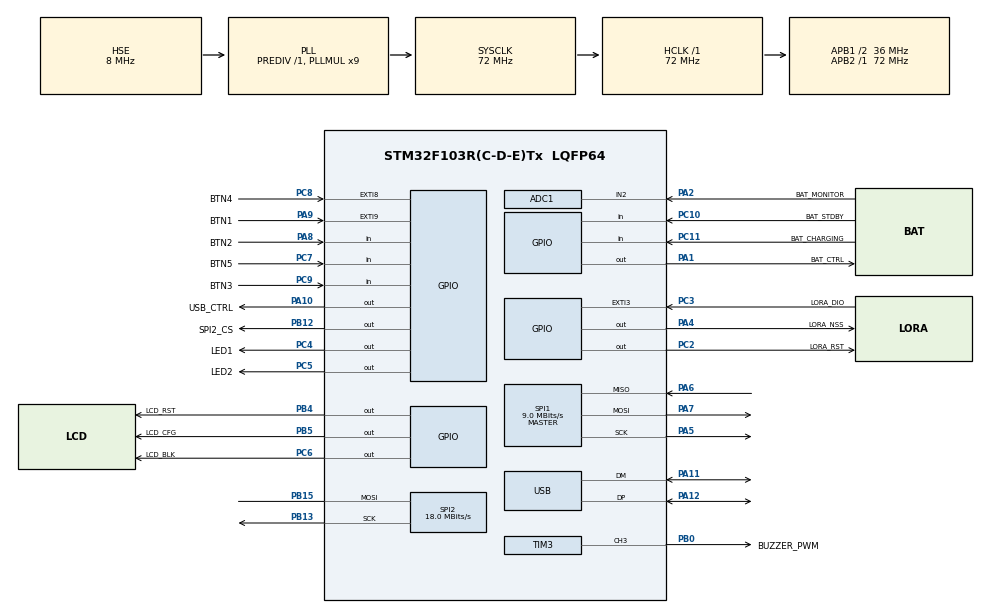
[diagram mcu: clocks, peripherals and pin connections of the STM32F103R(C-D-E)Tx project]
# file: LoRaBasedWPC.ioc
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ADC1.Channel-0\#ChannelRegularConversion=ADC_CHANNEL_2
ADC1.ContinuousConvMode=DISABLE
ADC1.EnableAnalogWatchDog=true
ADC1.ExternalTrigConv=ADC_EXTERNALTRIGCONV_T8_TRGO
ADC1.NbrOfConversionFlag=1
ADC1.Rank-0\#ChannelRegularConversion=1
ADC1.SamplingTime-0\#ChannelRegularConversion=ADC_SAMPLETIME_239CYCLES_5
ADC1.WatchdogChannel=ADC_CHANNEL_2
ADC1.master=1
Dma.ADC1.0.Direction=DMA_PERIPH_TO_MEMORY
Dma.ADC1.0.Instance=DMA1_Channel1
Dma.ADC1.0.MemDataAlignment=DMA_MDATAALIGN_HALFWORD
Dma.ADC1.0.MemInc=DMA_MINC_ENABLE
Dma.ADC1.0.Mode=DMA_CIRCULAR
Dma.ADC1.0.PeriphDataAlignment=DMA_PDATAALIGN_HALFWORD
Dma.ADC1.0.PeriphInc=DMA_PINC_DISABLE
Dma.ADC1.0.Priority=DMA_PRIORITY_LOW
Dma.Request0=ADC1
Dma.Request1=SPI2_TX
Dma.SPI2_TX.1.Direction=DMA_MEMORY_TO_PERIPH
Dma.SPI2_TX.1.Instance=DMA1_Channel5
Dma.SPI2_TX.1.MemDataAlignment=DMA_MDATAALIGN_BYTE
Dma.SPI2_TX.1.MemInc=DMA_MINC_ENABLE
Dma.SPI2_TX.1.Mode=DMA_NORMAL
Dma.SPI2_TX.1.PeriphDataAlignment=DMA_PDATAALIGN_BYTE
Dma.SPI2_TX.1.PeriphInc=DMA_PINC_DISABLE
Dma.SPI2_TX.1.Priority=DMA_PRIORITY_LOW
FREERTOS.Queues01=txMsgQueue,16,LoraPackage_t,0,Dynamic,NULL,NULL;buzzerQueue,16,Buzzer_Mode_e,0,Dynamic,NULL,NULL
FREERTOS.Tasks01=systemTask,24,512,StartSystemTask,Default,NULL,Dynamic,NULL,NULL;sensorTask,40,128,StartSensorTask,Default,NULL,Dynamic,NULL,NULL;lcdTask,16,512,StartLcdTask,Default,NULL,Dynamic,NULL,NULL;buzzerTask,8,128,StartBuzzerTask,Default,NULL,Dynamic,NULL,NULL;loraSendTask,17,256,StartLoraSendTask,Default,NULL,Dynamic,NULL,NULL;loraReceiveTask,17,512,StartLoraReceiveTask,Default,NULL,Dynamic,NULL,NULL
FREERTOS.Timers01=GetDevStatusTimer,GetDevStatusTimerCallback,osTimerPeriodic,Default,NULL,Dynamic,NULL
FREERTOS.configCHECK_FOR_STACK_OVERFLOW=0
FREERTOS.configTOTAL_HEAP_SIZE=15360
FREERTOS.configUSE_IDLE_HOOK=1
FREERTOS.configUSE_MALLOC_FAILED_HOOK=1
FREERTOS.configUSE_TICKLESS_IDLE=1
Mcu.Family=STM32F1
Mcu.Name=STM32F103R(C-D-E)Tx
Mcu.Package=LQFP64
NVIC.DMA1_Channel1_IRQn=true\:5\:0\:false\:false\:true\:true\:false\:true\:true
NVIC.DMA1_Channel5_IRQn=true\:5\:0\:false\:false\:true\:true\:false\:true\:true
NVIC.EXTI3_IRQn=true\:5\:0\:false\:false\:true\:true\:true\:true\:true
NVIC.EXTI9_5_IRQn=true\:5\:0\:true\:false\:true\:true\:true\:true\:true
NVIC.PriorityGroup=NVIC_PRIORITYGROUP_4
NVIC.RTC_Alarm_IRQn=true\:5\:0\:false\:false\:true\:true\:true\:true\:true
NVIC.TIM1_UP_IRQn=true\:4\:0\:false\:false\:true\:false\:false\:true\:true
NVIC.TimeBase=TIM1_UP_IRQn
NVIC.TimeBaseIP=TIM1
NVIC.USB_LP_CAN1_RX0_IRQn=true\:5\:0\:false\:false\:true\:true\:false\:true\:true
PA0-WKUP.Mode=SYS_WakeUp0
PA0-WKUP.Signal=SYS_WKUP
PA1.GPIO_Label=BAT_CTRL
PA1.Signal=GPIO_Output
PA10.GPIO_Label=USB_CTRL
PA10.Signal=GPIO_Output
PA11.Mode=Device
PA11.Signal=USB_DM
PA12.Mode=Device
PA12.Signal=USB_DP
PA13.Mode=Serial_Wire
PA13.Signal=SYS_JTMS-SWDIO
PA14.Mode=Serial_Wire
PA14.Signal=SYS_JTCK-SWCLK
PA2.GPIO_Label=BAT_MONITOR
PA2.Signal=ADCx_IN2
PA4.GPIO_Label=LORA_NSS
PA4.Signal=GPIO_Output
PA5.Mode=Full_Duplex_Master
PA5.Signal=SPI1_SCK
PA6.Mode=Full_Duplex_Master
PA6.Signal=SPI1_MISO
PA7.Mode=Full_Duplex_Master
PA7.Signal=SPI1_MOSI
PA8.GPIO_Label=BTN2
PA8.Signal=GPIO_Input
PA9.GPIO_Label=BTN1
PA9.Signal=GPXTI9
PB0.GPIO_Label=BUZZER_PWM
PB0.Signal=S_TIM3_CH3
PB12.GPIO_Label=SPI2_CS
PB12.PinState=GPIO_PIN_SET
PB12.Signal=GPIO_Output
PB13.Mode=Simplex_Bidirectional_Master
PB13.Signal=SPI2_SCK
PB14.Signal=SPI2_MISO
PB15.Mode=Simplex_Bidirectional_Master
PB15.Signal=SPI2_MOSI
PB4.GPIO_Label=LCD_RST
PB4.Signal=GPIO_Output
PB5.GPIO_Label=LCD_CFG
PB5.Signal=GPIO_Output
PC10.GPIO_Label=BAT_STDBY
PC10.GPIO_PuPd=GPIO_PULLUP
PC10.Signal=GPIO_Input
PC11.GPIO_Label=BAT_CHARGING
PC11.GPIO_PuPd=GPIO_PULLUP
PC11.Signal=GPIO_Input
PC14-OSC32_IN.Mode=LSE-External-Oscillator
PC14-OSC32_IN.Signal=RCC_OSC32_IN
PC15-OSC32_OUT.Mode=LSE-External-Oscillator
PC15-OSC32_OUT.Signal=RCC_OSC32_OUT
PC2.GPIO_Label=LORA_RST
PC2.PinState=GPIO_PIN_SET
PC2.Signal=GPIO_Output
PC3.GPIO_Label=LORA_DIO
PC3.Signal=GPXTI3
PC4.GPIO_Label=LED1
PC4.Signal=GPIO_Output
PC5.GPIO_Label=LED2
PC5.Signal=GPIO_Output
PC6.GPIO_Label=LCD_BLK
PC6.Signal=GPIO_Output
PC7.GPIO_Label=BTN5
PC7.Signal=GPIO_Input
PC8.GPIO_Label=BTN4
PC8.Signal=GPXTI8
PC9.GPIO_Label=BTN3
PC9.Signal=GPIO_Input
PD0-OSC_IN.Mode=HSE-External-Oscillator
PD0-OSC_IN.Signal=RCC_OSC_IN
PD1-OSC_OUT.Mode=HSE-External-Oscillator
PD1-OSC_OUT.Signal=RCC_OSC_OUT
ProjectManager.HeapSize=0x200
ProjectManager.StackSize=0x400
ProjectManager.TargetToolchain=MDK-ARM V5.32
RCC.ADCPresc=RCC_ADCPCLK2_DIV6
RCC.AHBFreq_Value=72000000
RCC.APB1CLKDivider=RCC_HCLK_DIV2
RCC.APB1Freq_Value=36000000
RCC.APB1TimFreq_Value=72000000
RCC.APB2Freq_Value=72000000
RCC.APB2TimFreq_Value=72000000
RCC.HCLKFreq_Value=72000000
RCC.PLLMUL=RCC_PLL_MUL9
RCC.RTCClockSelection=RCC_RTCCLKSOURCE_LSE
RCC.SYSCLKFreq_VALUE=72000000
RCC.SYSCLKSource=RCC_SYSCLKSOURCE_PLLCLK
RCC.USBFreq_Value=48000000
RCC.USBPrescaler=RCC_USBCLKSOURCE_PLL_DIV1_5
RTC.Date=1
RTC.Format=RTC_FORMAT_BIN
RTC.Month=RTC_MONTH_JANUARY
RTC.WeekDay=RTC_WEEKDAY_SATURDAY
SH.ADCx_IN2.0=ADC1_IN2,IN2
SH.S_TIM3_CH3.0=TIM3_CH3,PWM Generation3 CH3
SPI1.BaudRatePrescaler=SPI_BAUDRATEPRESCALER_8
SPI1.CalculateBaudRate=9.0 MBits/s
SPI1.Direction=SPI_DIRECTION_2LINES
SPI1.Mode=SPI_MODE_MASTER
SPI1.VirtualType=VM_MASTER
SPI2.BaudRatePrescaler=SPI_BAUDRATEPRESCALER_2
SPI2.CalculateBaudRate=18.0 MBits/s
SPI2.Direction=SPI_DIRECTION_1LINE
SPI2.Mode=SPI_MODE_MASTER
SPI2.VirtualType=VM_MASTER
TIM3.AutoReloadPreload=TIM_AUTORELOAD_PRELOAD_ENABLE
TIM3.Channel-PWM\ Generation3\ CH3=TIM_CHANNEL_3
TIM3.Period=365
TIM3.Prescaler=71
TIM3.Pulse-PWM\ Generation3\ CH3=183
TIM8.AutoReloadPreload=TIM_AUTORELOAD_PRELOAD_ENABLE
TIM8.Period=999
TIM8.Prescaler=7199
TIM8.TIM_MasterOutputTrigger=TIM_TRGO_UPDATE
TIM8.TIM_MasterSlaveMode=TIM_MASTERSLAVEMODE_ENABLE
USB_DEVICE.CLASS_NAME_FS=CDC
USB_DEVICE.VirtualMode=Cdc
USB_DEVICE.VirtualModeFS=Cdc_FS
VP_FREERTOS_VS_CMSIS_V2.Mode=CMSIS_V2
VP_RTC_VS_RTC_Activate.Mode=RTC_Enabled
VP_RTC_VS_RTC_Calendar.Mode=RTC_Calendar
VP_SYS_VS_tim1.Mode=TIM1
VP_TIM3_VS_ClockSourceINT.Mode=Internal
VP_TIM8_VS_ClockSourceINT.Mode=Internal
VP_USB_DEVICE_VS_USB_DEVICE_CDC_FS.Mode=CDC_FS
board=custom

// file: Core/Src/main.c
/* USER CODE BEGIN Header */
/**
  ******************************************************************************
  * @file           : main.c
  * @brief          : Main program body
  ******************************************************************************
  * @attention
  *
  * Copyright (c) 2026 STMicroelectronics.
  * All rights reserved.
  *
  * This software is licensed under terms that can be found in the LICENSE file
  * in the root directory of this software component.
  * If no LICENSE file comes with this software, it is provided AS-IS.
  *
  ******************************************************************************
  */
/* USER CODE END Header */
#include "main.h"
#include "cmsis_os.h"
#include "usb_device.h"

/* USER CODE BEGIN Includes */
#include "usbd_cdc_if.h"
#include <stdio.h>
#include <stdlib.h>
#include <string.h>
#include "button.h"
#include "lora.h"
#include "communication_lora.h"
#include "utility.h"
#include "config_store.h"
#include "lcd.h"
#include "screens.h"
#include "link_monitor.h"
#include "power_sleep.h"
#include "command_handlers.h"
#include "schedule.h"
#include "remote_history.h"
#include "rtc_setting.h"
/* USER CODE END Includes */

/* USER CODE BEGIN PD */
#define PAIRING_TIMEOUT_MS 5000 ///< Wait for the reply to a search or connection request.
/* USER CODE END PD */

ADC_HandleTypeDef hadc1;
DMA_HandleTypeDef hdma_adc1;

RTC_HandleTypeDef hrtc;

SPI_HandleTypeDef hspi1;
SPI_HandleTypeDef hspi2;
DMA_HandleTypeDef hdma_spi2_tx;

TIM_HandleTypeDef htim3;
TIM_HandleTypeDef htim8;

/* Definitions for systemTask */
osThreadId_t systemTaskHandle;
const osThreadAttr_t systemTask_attributes = {
  .name = "systemTask",
  .stack_size = 512 * 4,
  .priority = (osPriority_t) osPriorityNormal,
};
/* Definitions for sensorTask */
osThreadId_t sensorTaskHandle;
const osThreadAttr_t sensorTask_attributes = {
  .name = "sensorTask",
  .stack_size = 128 * 4,
  .priority = (osPriority_t) osPriorityHigh,
};
/* Definitions for lcdTask */
osThreadId_t lcdTaskHandle;
const osThreadAttr_t lcdTask_attributes = {
  .name = "lcdTask",
  .stack_size = 512 * 4,
  .priority = (osPriority_t) osPriorityBelowNormal,
};
/* Definitions for buzzerTask */
osThreadId_t buzzerTaskHandle;
const osThreadAttr_t buzzerTask_attributes = {
  .name = "buzzerTask",
  .stack_size = 128 * 4,
  .priority = (osPriority_t) osPriorityLow,
};
/* Definitions for loraSendTask */
osThreadId_t loraSendTaskHandle;
const osThreadAttr_t loraSendTask_attributes = {
  .name = "loraSendTask",
  .stack_size = 256 * 4,
  .priority = (osPriority_t) osPriorityBelowNormal1,
};
/* Definitions for loraReceiveTask */
osThreadId_t loraReceiveTaskHandle;
const osThreadAttr_t loraReceiveTask_attributes = {
  .name = "loraReceiveTask",
  .stack_size = 512 * 4,
  .priority = (osPriority_t) osPriorityBelowNormal1,
};
/* Definitions for txMsgQueue */
osMessageQueueId_t txMsgQueueHandle;
const osMessageQueueAttr_t txMsgQueue_attributes = {
  .name = "txMsgQueue"
};
/* Definitions for buzzerQueue */
osMessageQueueId_t buzzerQueueHandle;
const osMessageQueueAttr_t buzzerQueue_attributes = {
  .name = "buzzerQueue"
};
/* Definitions for GetDevStatusTimer */
osTimerId_t GetDevStatusTimerHandle;
const osTimerAttr_t GetDevStatusTimer_attributes = {
  .name = "GetDevStatusTimer"
};
/* USER CODE BEGIN PV */
static osMutexId_t uiMutex;
static osMutexId_t radioMutex;
static volatile uint32_t batterySampleSequence;
/* Buttons, polled by sensorTask and consumed by systemTask. */
Button_t leftButton = {BTN1_GPIO_Port, BTN1_Pin, eButton_State_Idle, 0, 0, 0};   ///< LEFT (PA9), wakes from STOP.
Button_t centerButton = {BTN3_GPIO_Port, BTN3_Pin, eButton_State_Idle, 0, 0, 0}; ///< CENTER (PC9).
Button_t rightButton = {BTN4_GPIO_Port, BTN4_Pin, eButton_State_Idle, 0, 0, 0};  ///< RIGHT (PC8), wakes from STOP.
Button_t onButton = {BTN2_GPIO_Port, BTN2_Pin, eButton_State_Idle, 0, 0, 0};     ///< ON (PA8).
Button_t offButton = {BTN5_GPIO_Port, BTN5_Pin, eButton_State_Idle, 0, 0, 0};    ///< OFF (PC7), wakes from STOP.
SystemInfo_t systemInfo;                  ///< Runtime state of the remote.
DeviceInfo_t devicesInfo[MAXIMUM_DEVICE]; ///< Paired devices, indexed by device id.
MotorData_t motorsData[MAXIMUM_MOTOR];    ///< Motor runtime state, indexed like storageData.motors.
LoRa sLoRaCtrl;                           ///< LoRa radio driver state.
uint16_t errorCode = 0;                   ///< Result of LoRa_init() at start-up.
uint8_t rxBuffer[256];                    ///< Receive buffer of loraReceiveTask.

extern Screen_t deviceControlScreen;
Screen_t *currentScreen = &deviceControlScreen;
/* USER CODE END PV */

void SystemClock_Config(void);
static void MX_GPIO_Init(void);
static void MX_DMA_Init(void);
static void MX_ADC1_Init(void);
static void MX_SPI1_Init(void);
static void MX_SPI2_Init(void);
static void MX_TIM3_Init(void);
static void MX_RTC_Init(void);
static void MX_TIM8_Init(void);
void StartSystemTask(void *argument);
void StartSensorTask(void *argument);
void StartLcdTask(void *argument);
void StartBuzzerTask(void *argument);
void StartLoraSendTask(void *argument);
void StartLoraReceiveTask(void *argument);
void GetDevStatusTimerCallback(void *argument);

/* USER CODE BEGIN PFP */
static void updateBattery(void);
static uint8_t findFreeNodeId(void);
static char deviceTypeChar(uint8_t deviceType);
static int8_t findPairedSlot(uint32_t serial);
static int8_t pairingSlot(void);
static int8_t storePairedDevice(void);
static void handleButton(Button_t *button, void (*onClick)(void), void (*onLongPress)(void));
static uint8_t pairingScreenAt(uint8_t step);
static void showPairingStep(uint8_t step);
static uint8_t pairingTimedOut(uint32_t startTick);
static void handlePairingSearch(void);
static void handlePairingConnection(void);
/* USER CODE END PFP */

int main(void)
{

  /* USER CODE BEGIN 1 */
  SCB->VTOR = 0x08008000u;
  __DSB();
  __ISB();

  /* USER CODE END 1 */

  /* MCU Configuration--------------------------------------------------------*/

  /* Reset of all peripherals, Initializes the Flash interface and the Systick. */
  HAL_Init();

  /* Configure the system clock */
  SystemClock_Config();

  /* Initialize all configured peripherals */
  MX_GPIO_Init();
  MX_DMA_Init();
  MX_ADC1_Init();
  MX_SPI1_Init();
  MX_SPI2_Init();
  MX_TIM3_Init();
  MX_RTC_Init();
  MX_TIM8_Init();
  /* USER CODE BEGIN 2 */
  LCD_Backlight_On();
  LCD_init();

  /* Start battery voltage's ADC. */
  HAL_GPIO_WritePin(BAT_CTRL_GPIO_Port, BAT_CTRL_Pin, GPIO_PIN_SET);
  HAL_Delay(5);
  if (HAL_ADCEx_Calibration_Start(&hadc1) != HAL_OK)
  {
    Error_Handler();
  }
  /* Sample the high-impedance divider with a long acquisition time. */
  ADC_ChannelConfTypeDef batteryChannel = {0};
  batteryChannel.Channel = ADC_CHANNEL_2;
  batteryChannel.Rank = ADC_REGULAR_RANK_1;
  batteryChannel.SamplingTime = ADC_SAMPLETIME_239CYCLES_5;
  if (HAL_ADC_ConfigChannel(&hadc1, &batteryChannel) != HAL_OK)
  {
    Error_Handler();
  }
  __HAL_TIM_SET_AUTORELOAD(&htim8, 999);
  __HAL_TIM_SET_COUNTER(&htim8, 0);
  HAL_ADC_Start_DMA(&hadc1, &systemInfo.batteryAdc, 1);
  HAL_TIM_Base_Start(&htim8);

  /* Load the stored configuration (newest valid slot, old format or defaults). */
  Config_Load();

  /* LoRa module settings. */
  sLoRaCtrl = newLoRa();

  sLoRaCtrl.hSPIx = &hspi1;
  sLoRaCtrl.CS_port = LORA_NSS_GPIO_Port;
  sLoRaCtrl.CS_pin = LORA_NSS_Pin;
  sLoRaCtrl.reset_port = LORA_RST_GPIO_Port;
  sLoRaCtrl.reset_pin = LORA_RST_Pin;
  sLoRaCtrl.DIO0_port = LORA_DIO_GPIO_Port;
  sLoRaCtrl.DIO0_pin = LORA_DIO_Pin;

  sLoRaCtrl.frequency = storageData.freqMhz;
  sLoRaCtrl.spredingFactor = storageData.spreadFactor;
  sLoRaCtrl.bandWidth = BW_125KHz;          /* default = BW_125KHz */
  sLoRaCtrl.crcRate = CR_4_5;               /* default = CR_4_5 */
  sLoRaCtrl.power = POWER_17db;             /* default = 20db */
  sLoRaCtrl.overCurrentProtection = 120;    /* default = 100 mA */
  sLoRaCtrl.preamble = 10;

  LoRa_reset(&sLoRaCtrl);
  errorCode = LoRa_init(&sLoRaCtrl);
  LoRa_startReceiving(&sLoRaCtrl);

  /* System settings. */
  systemInfo.batteryVoltageMin = 3.0f;
  systemInfo.batteryVoltageMax = 4.2f;
  systemInfo.netId = storageData.netId;
  systemInfo.runMode = eSystem_RunMode_Normal;

  /* Device list: runtime state in devicesInfo; Config_Load() has already checked the settings. */
  for (int devNo = 0; devNo < MAXIMUM_DEVICE; devNo++)
  {
    storageData.devices[devNo].factoryInfo.typeChar =
      deviceTypeChar(storageData.devices[devNo].factoryInfo.type);
    devicesInfo[devNo].index = devNo;
  }

  /* Select the first paired device. */
  HAL_RTC_GetTime(&hrtc, &systemInfo.rtcTime, RTC_FORMAT_BIN);
  HAL_RTC_GetDate(&hrtc, &systemInfo.rtcDate, RTC_FORMAT_BIN);
  systemInfo.currentTime = Util_GetUnixTimestamp(&systemInfo.rtcTime, &systemInfo.rtcDate);
  for (int devNo = 0; devNo < MAXIMUM_DEVICE; devNo++)
  {
    if (storageData.devices[devNo].deleted == FALSE)
    {
      devicesInfo[devNo].lastRxTime = systemInfo.currentTime;
      systemInfo.curDevice = devNo;
      systemInfo.curModule = 0;
      break;
    }
  }

  RemoteHistory_Init();
  currentScreen->init();
  Link_Init(Power_ReadRtcSecond());
  Link_RequestStatusSync();
  Power_Init();
  /* USER CODE END 2 */

  /* Init scheduler */
  osKernelInitialize();

  /* USER CODE BEGIN RTOS_MUTEX */
  const osMutexAttr_t uiMutexAttributes = { .name = "UI", .attr_bits = osMutexPrioInherit };
  const osMutexAttr_t radioMutexAttributes = { .name = "LoRa", .attr_bits = osMutexPrioInherit };

  uiMutex = osMutexNew(&uiMutexAttributes);
  if (!uiMutex)
  {
    Error_Handler();
  }
  radioMutex = osMutexNew(&radioMutexAttributes);
  if (!radioMutex)
  {
    Error_Handler();
  }
  /* USER CODE END RTOS_MUTEX */

  /* Create the timer(s) */
  /* creation of GetDevStatusTimer */
  GetDevStatusTimerHandle = osTimerNew(GetDevStatusTimerCallback, osTimerPeriodic, NULL, &GetDevStatusTimer_attributes);

  /* Create the queue(s) */
  /* creation of txMsgQueue */
  txMsgQueueHandle = osMessageQueueNew (16, sizeof(LoraPackage_t), &txMsgQueue_attributes);

  /* creation of buzzerQueue */
  buzzerQueueHandle = osMessageQueueNew (16, sizeof(Buzzer_Mode_e), &buzzerQueue_attributes);

  /* Create the thread(s) */
  /* creation of systemTask */
  systemTaskHandle = osThreadNew(StartSystemTask, NULL, &systemTask_attributes);

  /* creation of sensorTask */
  sensorTaskHandle = osThreadNew(StartSensorTask, NULL, &sensorTask_attributes);

  /* creation of lcdTask */
  lcdTaskHandle = osThreadNew(StartLcdTask, NULL, &lcdTask_attributes);

  /* creation of buzzerTask */
  buzzerTaskHandle = osThreadNew(StartBuzzerTask, NULL, &buzzerTask_attributes);

  /* creation of loraSendTask */
  loraSendTaskHandle = osThreadNew(StartLoraSendTask, NULL, &loraSendTask_attributes);

  /* creation of loraReceiveTask */
  loraReceiveTaskHandle = osThreadNew(StartLoraReceiveTask, NULL, &loraReceiveTask_attributes);

  /* Start scheduler */
  osKernelStart();

  /* We should never get here as control is now taken by the scheduler */

  /* Infinite loop */
  while (1)
  {

  }
}

void SystemClock_Config(void)
{
  RCC_OscInitTypeDef RCC_OscInitStruct = {0};
  RCC_ClkInitTypeDef RCC_ClkInitStruct = {0};
  RCC_PeriphCLKInitTypeDef PeriphClkInit = {0};

  /** Initializes the RCC Oscillators according to the specified parameters
  * in the RCC_OscInitTypeDef structure.
  */
  RCC_OscInitStruct.OscillatorType = RCC_OSCILLATORTYPE_HSE|RCC_OSCILLATORTYPE_LSE;
  RCC_OscInitStruct.HSEState = RCC_HSE_ON;
  RCC_OscInitStruct.HSEPredivValue = RCC_HSE_PREDIV_DIV1;
  RCC_OscInitStruct.LSEState = RCC_LSE_ON;
  RCC_OscInitStruct.HSIState = RCC_HSI_ON;
  RCC_OscInitStruct.PLL.PLLState = RCC_PLL_ON;
  RCC_OscInitStruct.PLL.PLLSource = RCC_PLLSOURCE_HSE;
  RCC_OscInitStruct.PLL.PLLMUL = RCC_PLL_MUL9;
  if (HAL_RCC_OscConfig(&RCC_OscInitStruct) != HAL_OK)
  {
    Error_Handler();
  }

  /** Initializes the CPU, AHB and APB buses clocks
  */
  RCC_ClkInitStruct.ClockType = RCC_CLOCKTYPE_HCLK|RCC_CLOCKTYPE_SYSCLK
                              |RCC_CLOCKTYPE_PCLK1|RCC_CLOCKTYPE_PCLK2;
  RCC_ClkInitStruct.SYSCLKSource = RCC_SYSCLKSOURCE_PLLCLK;
  RCC_ClkInitStruct.AHBCLKDivider = RCC_SYSCLK_DIV1;
  RCC_ClkInitStruct.APB1CLKDivider = RCC_HCLK_DIV2;
  RCC_ClkInitStruct.APB2CLKDivider = RCC_HCLK_DIV1;

  if (HAL_RCC_ClockConfig(&RCC_ClkInitStruct, FLASH_LATENCY_2) != HAL_OK)
  {
    Error_Handler();
  }
  PeriphClkInit.PeriphClockSelection = RCC_PERIPHCLK_RTC|RCC_PERIPHCLK_ADC
                              |RCC_PERIPHCLK_USB;
  PeriphClkInit.RTCClockSelection = RCC_RTCCLKSOURCE_LSE;
  PeriphClkInit.AdcClockSelection = RCC_ADCPCLK2_DIV6;
  PeriphClkInit.UsbClockSelection = RCC_USBCLKSOURCE_PLL_DIV1_5;
  if (HAL_RCCEx_PeriphCLKConfig(&PeriphClkInit) != HAL_OK)
  {
    Error_Handler();
  }
}

static void MX_ADC1_Init(void)
{

  ADC_AnalogWDGConfTypeDef AnalogWDGConfig = {0};
  ADC_ChannelConfTypeDef sConfig = {0};

  /** Common config
  */
  hadc1.Instance = ADC1;
  hadc1.Init.ScanConvMode = ADC_SCAN_DISABLE;
  hadc1.Init.ContinuousConvMode = DISABLE;
  hadc1.Init.DiscontinuousConvMode = DISABLE;
  hadc1.Init.ExternalTrigConv = ADC_EXTERNALTRIGCONV_T8_TRGO;
  hadc1.Init.DataAlign = ADC_DATAALIGN_RIGHT;
  hadc1.Init.NbrOfConversion = 1;
  if (HAL_ADC_Init(&hadc1) != HAL_OK)
  {
    Error_Handler();
  }

  /** Enable or disable the remapping of ADC1_ETRGREG:
  * ADC1 External Event regular conversion is connected to TIM8 TRG0
  */
  __HAL_AFIO_REMAP_ADC1_ETRGREG_ENABLE();

  /** Configure Analog WatchDog 1
  */
  AnalogWDGConfig.WatchdogMode = ADC_ANALOGWATCHDOG_SINGLE_REG;
  AnalogWDGConfig.HighThreshold = 0;
  AnalogWDGConfig.LowThreshold = 0;
  AnalogWDGConfig.Channel = ADC_CHANNEL_2;
  AnalogWDGConfig.ITMode = DISABLE;
  if (HAL_ADC_AnalogWDGConfig(&hadc1, &AnalogWDGConfig) != HAL_OK)
  {
    Error_Handler();
  }

  /** Configure Regular Channel
  */
  sConfig.Channel = ADC_CHANNEL_2;
  sConfig.Rank = ADC_REGULAR_RANK_1;
  sConfig.SamplingTime = ADC_SAMPLETIME_7CYCLES_5;
  if (HAL_ADC_ConfigChannel(&hadc1, &sConfig) != HAL_OK)
  {
    Error_Handler();
  }

}

static void MX_RTC_Init(void)
{

  RTC_TimeTypeDef sTime = {0};
  RTC_DateTypeDef DateToUpdate = {0};

  /** Initialize RTC Only
  */
  hrtc.Instance = RTC;
  hrtc.Init.AsynchPrediv = RTC_AUTO_1_SECOND;
  hrtc.Init.OutPut = RTC_OUTPUTSOURCE_ALARM;
  if (HAL_RTC_Init(&hrtc) != HAL_OK)
  {
    Error_Handler();
  }

  /* USER CODE BEGIN Check_RTC_BKUP */
  /* Only set the default time/date when the RTC was not configured before. */
  if (HAL_RTCEx_BKUPRead(&hrtc, RTC_BKP_DR1) != 0x3210)
  {
  /* USER CODE END Check_RTC_BKUP */

  /** Initialize RTC and set the Time and Date
  */
  sTime.Hours = 0;
  sTime.Minutes = 0;
  sTime.Seconds = 0;

  if (HAL_RTC_SetTime(&hrtc, &sTime, RTC_FORMAT_BIN) != HAL_OK)
  {
    Error_Handler();
  }
  DateToUpdate.WeekDay = RTC_WEEKDAY_SATURDAY;
  DateToUpdate.Month = RTC_MONTH_JANUARY;
  DateToUpdate.Date = 1;
  DateToUpdate.Year = 0;

  if (HAL_RTC_SetDate(&hrtc, &DateToUpdate, RTC_FORMAT_BIN) != HAL_OK)
  {
    Error_Handler();
  }
  /* USER CODE BEGIN RTC_Init 2 */
    HAL_RTCEx_BKUPWrite(&hrtc, RTC_BKP_DR1, 0x3210);
  }
  Rtc_RestoreDate();
  /* USER CODE END RTC_Init 2 */
}

static void MX_SPI1_Init(void)
{

  /* SPI1 parameter configuration*/
  hspi1.Instance = SPI1;
  hspi1.Init.Mode = SPI_MODE_MASTER;
  hspi1.Init.Direction = SPI_DIRECTION_2LINES;
  hspi1.Init.DataSize = SPI_DATASIZE_8BIT;
  hspi1.Init.CLKPolarity = SPI_POLARITY_LOW;
  hspi1.Init.CLKPhase = SPI_PHASE_1EDGE;
  hspi1.Init.NSS = SPI_NSS_SOFT;
  hspi1.Init.BaudRatePrescaler = SPI_BAUDRATEPRESCALER_8;
  hspi1.Init.FirstBit = SPI_FIRSTBIT_MSB;
  hspi1.Init.TIMode = SPI_TIMODE_DISABLE;
  hspi1.Init.CRCCalculation = SPI_CRCCALCULATION_DISABLE;
  hspi1.Init.CRCPolynomial = 10;
  if (HAL_SPI_Init(&hspi1) != HAL_OK)
  {
    Error_Handler();
  }

}

static void MX_SPI2_Init(void)
{

  /* SPI2 parameter configuration*/
  hspi2.Instance = SPI2;
  hspi2.Init.Mode = SPI_MODE_MASTER;
  hspi2.Init.Direction = SPI_DIRECTION_1LINE;
  hspi2.Init.DataSize = SPI_DATASIZE_8BIT;
  hspi2.Init.CLKPolarity = SPI_POLARITY_LOW;
  hspi2.Init.CLKPhase = SPI_PHASE_1EDGE;
  hspi2.Init.NSS = SPI_NSS_SOFT;
  hspi2.Init.BaudRatePrescaler = SPI_BAUDRATEPRESCALER_2;
  hspi2.Init.FirstBit = SPI_FIRSTBIT_MSB;
  hspi2.Init.TIMode = SPI_TIMODE_DISABLE;
  hspi2.Init.CRCCalculation = SPI_CRCCALCULATION_DISABLE;
  hspi2.Init.CRCPolynomial = 10;
  if (HAL_SPI_Init(&hspi2) != HAL_OK)
  {
    Error_Handler();
  }

}

static void MX_TIM3_Init(void)
{

  TIM_ClockConfigTypeDef sClockSourceConfig = {0};
  TIM_MasterConfigTypeDef sMasterConfig = {0};
  TIM_OC_InitTypeDef sConfigOC = {0};

  htim3.Instance = TIM3;
  htim3.Init.Prescaler = 71;
  htim3.Init.CounterMode = TIM_COUNTERMODE_UP;
  htim3.Init.Period = 365;
  htim3.Init.ClockDivision = TIM_CLOCKDIVISION_DIV1;
  htim3.Init.AutoReloadPreload = TIM_AUTORELOAD_PRELOAD_ENABLE;
  if (HAL_TIM_Base_Init(&htim3) != HAL_OK)
  {
    Error_Handler();
  }
  sClockSourceConfig.ClockSource = TIM_CLOCKSOURCE_INTERNAL;
  if (HAL_TIM_ConfigClockSource(&htim3, &sClockSourceConfig) != HAL_OK)
  {
    Error_Handler();
  }
  if (HAL_TIM_PWM_Init(&htim3) != HAL_OK)
  {
    Error_Handler();
  }
  sMasterConfig.MasterOutputTrigger = TIM_TRGO_RESET;
  sMasterConfig.MasterSlaveMode = TIM_MASTERSLAVEMODE_DISABLE;
  if (HAL_TIMEx_MasterConfigSynchronization(&htim3, &sMasterConfig) != HAL_OK)
  {
    Error_Handler();
  }
  sConfigOC.OCMode = TIM_OCMODE_PWM1;
  sConfigOC.Pulse = 183;
  sConfigOC.OCPolarity = TIM_OCPOLARITY_HIGH;
  sConfigOC.OCFastMode = TIM_OCFAST_DISABLE;
  if (HAL_TIM_PWM_ConfigChannel(&htim3, &sConfigOC, TIM_CHANNEL_3) != HAL_OK)
  {
    Error_Handler();
  }
  HAL_TIM_MspPostInit(&htim3);

}

static void MX_TIM8_Init(void)
{

  TIM_ClockConfigTypeDef sClockSourceConfig = {0};
  TIM_MasterConfigTypeDef sMasterConfig = {0};

  htim8.Instance = TIM8;
  htim8.Init.Prescaler = 7199;
  htim8.Init.CounterMode = TIM_COUNTERMODE_UP;
  htim8.Init.Period = 10000;
  htim8.Init.ClockDivision = TIM_CLOCKDIVISION_DIV1;
  htim8.Init.RepetitionCounter = 0;
  htim8.Init.AutoReloadPreload = TIM_AUTORELOAD_PRELOAD_ENABLE;
  if (HAL_TIM_Base_Init(&htim8) != HAL_OK)
  {
    Error_Handler();
  }
  sClockSourceConfig.ClockSource = TIM_CLOCKSOURCE_INTERNAL;
  if (HAL_TIM_ConfigClockSource(&htim8, &sClockSourceConfig) != HAL_OK)
  {
    Error_Handler();
  }
  sMasterConfig.MasterOutputTrigger = TIM_TRGO_UPDATE;
  sMasterConfig.MasterSlaveMode = TIM_MASTERSLAVEMODE_ENABLE;
  if (HAL_TIMEx_MasterConfigSynchronization(&htim8, &sMasterConfig) != HAL_OK)
  {
    Error_Handler();
  }

}

static void MX_DMA_Init(void)
{

  /* DMA controller clock enable */
  __HAL_RCC_DMA1_CLK_ENABLE();

  /* DMA interrupt init */
  /* DMA1_Channel1_IRQn interrupt configuration */
  HAL_NVIC_SetPriority(DMA1_Channel1_IRQn, 5, 0);
  HAL_NVIC_EnableIRQ(DMA1_Channel1_IRQn);
  /* DMA1_Channel5_IRQn interrupt configuration */
  HAL_NVIC_SetPriority(DMA1_Channel5_IRQn, 5, 0);
  HAL_NVIC_EnableIRQ(DMA1_Channel5_IRQn);

}

static void MX_GPIO_Init(void)
{
  GPIO_InitTypeDef GPIO_InitStruct = {0};

  /* GPIO Ports Clock Enable */
  __HAL_RCC_GPIOC_CLK_ENABLE();
  __HAL_RCC_GPIOD_CLK_ENABLE();
  __HAL_RCC_GPIOA_CLK_ENABLE();
  __HAL_RCC_GPIOB_CLK_ENABLE();

  /*Configure GPIO pin Output Level */
  HAL_GPIO_WritePin(LORA_RST_GPIO_Port, LORA_RST_Pin, GPIO_PIN_SET);

  /*Configure GPIO pin Output Level */
  HAL_GPIO_WritePin(GPIOA, BAT_CTRL_Pin|LORA_NSS_Pin|USB_CTRL_Pin, GPIO_PIN_RESET);

  /*Configure GPIO pin Output Level */
  HAL_GPIO_WritePin(GPIOC, LED1_Pin|LED2_Pin|LCD_BLK_Pin, GPIO_PIN_RESET);

  /*Configure GPIO pin Output Level */
  HAL_GPIO_WritePin(SPI2_CS_GPIO_Port, SPI2_CS_Pin, GPIO_PIN_SET);

  /*Configure GPIO pin Output Level */
  HAL_GPIO_WritePin(GPIOB, LCD_RST_Pin|LCD_CFG_Pin, GPIO_PIN_RESET);

  /*Configure GPIO pins : LORA_RST_Pin LED1_Pin LED2_Pin LCD_BLK_Pin */
  GPIO_InitStruct.Pin = LORA_RST_Pin|LED1_Pin|LED2_Pin|LCD_BLK_Pin;
  GPIO_InitStruct.Mode = GPIO_MODE_OUTPUT_PP;
  GPIO_InitStruct.Pull = GPIO_NOPULL;
  GPIO_InitStruct.Speed = GPIO_SPEED_FREQ_LOW;
  HAL_GPIO_Init(GPIOC, &GPIO_InitStruct);

  /*Configure GPIO pins : LORA_DIO_Pin BTN4_Pin */
  GPIO_InitStruct.Pin = LORA_DIO_Pin|BTN4_Pin;
  GPIO_InitStruct.Mode = GPIO_MODE_IT_RISING;
  GPIO_InitStruct.Pull = GPIO_NOPULL;
  HAL_GPIO_Init(GPIOC, &GPIO_InitStruct);

  /*Configure GPIO pins : BAT_CTRL_Pin LORA_NSS_Pin USB_CTRL_Pin */
  GPIO_InitStruct.Pin = BAT_CTRL_Pin|LORA_NSS_Pin|USB_CTRL_Pin;
  GPIO_InitStruct.Mode = GPIO_MODE_OUTPUT_PP;
  GPIO_InitStruct.Pull = GPIO_NOPULL;
  GPIO_InitStruct.Speed = GPIO_SPEED_FREQ_LOW;
  HAL_GPIO_Init(GPIOA, &GPIO_InitStruct);

  /*Configure GPIO pins : SPI2_CS_Pin LCD_RST_Pin LCD_CFG_Pin */
  GPIO_InitStruct.Pin = SPI2_CS_Pin|LCD_RST_Pin|LCD_CFG_Pin;
  GPIO_InitStruct.Mode = GPIO_MODE_OUTPUT_PP;
  GPIO_InitStruct.Pull = GPIO_NOPULL;
  GPIO_InitStruct.Speed = GPIO_SPEED_FREQ_LOW;
  HAL_GPIO_Init(GPIOB, &GPIO_InitStruct);

  /*Configure GPIO pins : BTN5_Pin BTN3_Pin */
  GPIO_InitStruct.Pin = BTN5_Pin|BTN3_Pin;
  GPIO_InitStruct.Mode = GPIO_MODE_INPUT;
  GPIO_InitStruct.Pull = GPIO_NOPULL;
  HAL_GPIO_Init(GPIOC, &GPIO_InitStruct);

  /*Configure GPIO pin : BTN2_Pin */
  GPIO_InitStruct.Pin = BTN2_Pin;
  GPIO_InitStruct.Mode = GPIO_MODE_INPUT;
  GPIO_InitStruct.Pull = GPIO_NOPULL;
  HAL_GPIO_Init(BTN2_GPIO_Port, &GPIO_InitStruct);

  /*Configure GPIO pin : BTN1_Pin */
  GPIO_InitStruct.Pin = BTN1_Pin;
  GPIO_InitStruct.Mode = GPIO_MODE_IT_RISING;
  GPIO_InitStruct.Pull = GPIO_NOPULL;
  HAL_GPIO_Init(BTN1_GPIO_Port, &GPIO_InitStruct);

  /*Configure GPIO pins : BAT_STDBY_Pin BAT_CHARGING_Pin */
  GPIO_InitStruct.Pin = BAT_STDBY_Pin|BAT_CHARGING_Pin;
  GPIO_InitStruct.Mode = GPIO_MODE_INPUT;
  GPIO_InitStruct.Pull = GPIO_PULLUP;
  HAL_GPIO_Init(GPIOC, &GPIO_InitStruct);

  /* EXTI interrupt init*/
  HAL_NVIC_SetPriority(EXTI3_IRQn, 5, 0);
  HAL_NVIC_EnableIRQ(EXTI3_IRQn);

  HAL_NVIC_SetPriority(EXTI9_5_IRQn, 5, 0);
  HAL_NVIC_EnableIRQ(EXTI9_5_IRQn);

}

/* USER CODE BEGIN 4 */
/**
 * @brief  Count a finished battery sample (ADC1 by DMA, triggered by TIM8).
 * @param  adc  ADC that finished.
 */
void HAL_ADC_ConvCpltCallback(ADC_HandleTypeDef *adc)
{
  if (adc->Instance == ADC1)
  {
    batterySampleSequence++;
  }
}

/**
 * @brief  EXTI wake sources: LEFT/RIGHT/OFF buttons and LoRa DIO0.
 *
 * DIO0 also notifies loraReceiveTask, except while Power_TryStop() is
 * entering STOP; it notifies the task itself after wake-up.
 *
 * @param  GPIO_Pin  Pin that triggered.
 */
void HAL_GPIO_EXTI_Callback(uint16_t GPIO_Pin)
{
  BaseType_t higherPriorityTaskWoken = pdFALSE;

  if (GPIO_Pin == BTN1_Pin || GPIO_Pin == BTN4_Pin || GPIO_Pin == BTN5_Pin)
  {
    Power_ButtonWakeISR();
  }
  else if (GPIO_Pin == sLoRaCtrl.DIO0_pin)
  {
    Power_RadioWakeISR();
    if (loraReceiveTaskHandle && !powerSleep.stopping)
    {
      vTaskNotifyGiveFromISR(loraReceiveTaskHandle, &higherPriorityTaskWoken);
    }
    portYIELD_FROM_ISR(higherPriorityTaskWoken);
  }
}

/**
 * @brief  RTC Alarm A: wake-up for the periodic sleep scan.
 * @param  hrtc  RTC handle.
 */
void HAL_RTC_AlarmAEventCallback(RTC_HandleTypeDef *hrtc)
{
  Power_RtcWakeISR();
}

/**
 * @brief  Ask buzzerTask to play a pattern.
 * @param  mode  Pattern to play.
 * @note   Does not block; the request is dropped if the queue is full.
 */
void Main_SetBuzzerMode(Buzzer_Mode_e mode)
{
  osMessageQueuePut(buzzerQueueHandle, &mode, 0, 0);
}

/**
 * @brief  Send CMD_CONTROL_POWER to the selected device and module.
 *
 * A locked motor is refused with a long beep and the lock notice; an
 * invalid, hidden or deleted device is ignored. Cancels the tracked schedule
 * of that node, since the command replaces it.
 *
 * @param  motorPower  A Motor_PowerState_e value.
 */
void Main_SetMotorPower(uint8_t motorPower)
{
  MotorStorageData_t *motor;

  /* Guard the common send path for both physical and USB-injected buttons. */
  if (systemInfo.curDevice >= MAXIMUM_DEVICE || systemInfo.curModule >= MAXIMUM_MODULE)
  {
    return;
  }
  if (!ScrnCommon_SelectionVisible())
  {
    return;
  }
  motor = Config_Motor(systemInfo.curDevice, systemInfo.curModule);
  if (motor == NULL)
  {
    return;
  }
  if (motor->locked)
  {
    ScrnDcs_ShowMotorLocked(motorPower);
    Main_SetBuzzerMode(eBuzzer_Mode_LongBeep);
    return;
  }

  if (storageData.devices[systemInfo.curDevice].deleted == FALSE)
  {
    Schedule_CancelForMotor(storageData.devices[systemInfo.curDevice].nodeId, systemInfo.curModule);
    LoraPackage_t packageOut = Comm_CreateReqControlPower(systemInfo.netId, storageData.devices[systemInfo.curDevice].nodeId,
      systemInfo.curModule, motorPower);
    osMessageQueuePut(txMsgQueueHandle, &packageOut, 0, pdMS_TO_TICKS(100));
  }
}

/** @brief Apply a new status period: stop the legacy poll timer and request a link scan. */
void Main_UpdateStatusPeriod(void)
{
  /* Compatibility entry point: scanning is local, never unconditional RF polling. */
  if (GetDevStatusTimerHandle)
  {
    osTimerStop(GetDevStatusTimerHandle);
  }
  Link_RequestScan();
}

/**
 * @brief  Send CMD_SET_SCHEDULE for the selected device and track it.
 * @param  time  Seconds from now until switch-off; negative cancels the schedule.
 */
void Main_SetScheduleTimeToCurrentModule(int32_t time)
{
  PayloadRequestSetSchedule_t payload;

  if (!ScrnCommon_SelectionVisible())
  {
    return;
  }

  payload.moduleIndex = systemInfo.curModule;
  payload.syncTime = systemInfo.currentTime;
  if (time < 0)
  {
    payload.scheduleTime = 0;
  }
  else
  {
    payload.scheduleTime = systemInfo.currentTime + time;
  }

  LoraPackage_t packageOut = Comm_CreateReqSetSchedule(systemInfo.netId, storageData.devices[systemInfo.curDevice].nodeId, payload);
  Schedule_Track(&packageOut, &payload);
  if (osMessageQueuePut(txMsgQueueHandle, &packageOut, 0, pdMS_TO_TICKS(100)) != osOK)
  {
    Schedule_QueueFailed();
  }
}

/**
 * @brief  Start pairing: switch the radio to the default settings and ask for factory info.
 *
 * Sets 433 MHz, SF7 and the default network id, then queues
 * CMD_GET_FACTORY_INFO. systemTask reports the result on the pairing screen,
 * or "not found" after 5 s.
 */
void Main_ScanNewDevice(void)
{
  osMutexAcquire(radioMutex, osWaitForever);
  systemInfo.searchTick = xTaskGetTickCount();
  systemInfo.searchStep = eProcess_Step_Processing;
  systemInfo.searchResult = eProcess_Result_Failed;
  memset(&systemInfo.foundDevice, 0, sizeof(systemInfo.foundDevice));
  systemInfo.netId = LORA_NET_ID_DEFAULT;
  sLoRaCtrl.frequency = 433;
  sLoRaCtrl.spredingFactor = SF_7;
  LoRa_init(&sLoRaCtrl);
  LoRa_startReceiving(&sLoRaCtrl);
  osMutexRelease(radioMutex);

  LoraPackage_t packageOut = Comm_CreateReqGetFactoryInfo(LORA_NET_ID_DEFAULT, LORA_NODE_ID_DEFAULT);
  osMessageQueuePut(txMsgQueueHandle, &packageOut, 0, pdMS_TO_TICKS(100));
}

/**
 * @brief  Runtime state of a motor (status, currents, timer, alarm).
 * @param  device  Index in devicesInfo.
 * @param  module  Module index on that device.
 * @return Its motorsData entry, or NULL if the motor has no storageData.motors slot.
 */
MotorData_t *Main_MotorState(uint8_t device, uint8_t module)
{
  int8_t slot = Config_MotorSlot(device, module);

  return slot < 0 ? NULL : &motorsData[slot];
}

/**
 * @brief  Leave pairing: put the radio back on the stored network and drop pending pairing steps.
 *
 * Main_ScanNewDevice() moves the radio to the default network; without this
 * every paired device stays unreachable until the next reset.
 */
void Main_RestoreRadio(void)
{
  osMutexAcquire(radioMutex, osWaitForever);
  systemInfo.searchStep = eProcess_Step_None;
  systemInfo.connectStep = eProcess_Step_None;
  systemInfo.netId = storageData.netId;
  sLoRaCtrl.frequency = storageData.freqMhz;
  sLoRaCtrl.spredingFactor = storageData.spreadFactor;
  LoRa_init(&sLoRaCtrl);
  LoRa_startReceiving(&sLoRaCtrl);
  osMutexRelease(radioMutex);
}

/**
 * @brief  Send CMD_CONFIG_CONNECTION to the device found by Main_ScanNewDevice().
 *
 * Gives it the configured network id, radio settings and the next unused
 * node id. systemTask stores the device when it answers, or fails after 5 s.
 *
 * @return FALSE, without contacting the device, if the device table or the
 *         motor pool has no room for it; the device keeps its settings then.
 */
uint8_t Main_ConnectToDevice(void)
{
  PayloadRequestConfigConnection_t payload;
  int8_t slot;

  /* Check the room first: a device that accepted the connection must be storable. */
  slot = pairingSlot();
  if (slot < 0)
  {
    return FALSE;
  }
  systemInfo.connectTick = xTaskGetTickCount();
  systemInfo.connectStep = eProcess_Step_Processing;
  systemInfo.connectResult = eProcess_Result_Failed;
  /* A device paired before keeps its slot and node id. */
  systemInfo.pairNodeId = findPairedSlot(systemInfo.foundDevice.serial) == slot ?
    storageData.devices[slot].nodeId : findFreeNodeId();

  payload.serial = systemInfo.foundDevice.serial;
  payload.netId = storageData.netId;
  payload.nodeId = systemInfo.pairNodeId;
  payload.frequency = storageData.freqMhz;
  payload.sf = storageData.spreadFactor;

  LoraPackage_t packageOut = Comm_CreateReqConfigConnection(LORA_NET_ID_DEFAULT, LORA_NODE_ID_DEFAULT, payload);
  osMessageQueuePut(txMsgQueueHandle, &packageOut, 0, pdMS_TO_TICKS(100));
  return TRUE;
}

/**
 * @brief  Arm RTC Alarm A some seconds from now.
 * @param  seconds  Delay [s]; the alarm time wraps at midnight.
 */
void Main_SetRtcAlarmRelative(uint32_t seconds)
{
  RTC_AlarmTypeDef sAlarm = {0};
  RTC_TimeTypeDef sTime = {0};
  RTC_DateTypeDef sDate = {0};
  uint32_t alarmSeconds;
  uint32_t alarmMinutes;
  uint32_t alarmHours;

  HAL_RTC_GetTime(&hrtc, &sTime, RTC_FORMAT_BIN);
  HAL_RTC_GetDate(&hrtc, &sDate, RTC_FORMAT_BIN);

  alarmSeconds = sTime.Seconds + seconds;
  alarmMinutes = sTime.Minutes + (alarmSeconds / 60);
  alarmHours = sTime.Hours + (alarmMinutes / 60);

  sAlarm.AlarmTime.Seconds = alarmSeconds % 60;
  sAlarm.AlarmTime.Minutes = alarmMinutes % 60;
  sAlarm.AlarmTime.Hours = alarmHours % 24;
  sAlarm.Alarm = RTC_ALARM_A;
  HAL_RTC_SetAlarm_IT(&hrtc, &sAlarm, RTC_FORMAT_BIN);
}

static void updateBattery(void)
{
  static uint32_t lastSequence;
  static float filtered;
  static const float volts[] = {3.0f, 3.3f, 3.5f, 3.6f, 3.7f, 3.8f, 3.9f, 4.0f, 4.1f, 4.2f};
  static const uint8_t levels[] = {0, 5, 10, 20, 40, 60, 75, 85, 95, 100};
  uint32_t sequence;
  float measured;
  float percent;

  sequence = batterySampleSequence;
  if (sequence == lastSequence)
  {
    return;
  }
  lastSequence = sequence;

  /* R15 = R18 = 10k, nominal VDDA from the regulated 3.3V rail. */
  measured = (float)(systemInfo.batteryAdc & 0xFFFFu) * 3.3f * 2.0f / 4095.0f;
  if (measured < 2.5f || measured > 4.5f)
  {
    filtered = 0;
    systemInfo.batteryVoltage = 0;
    systemInfo.batteryPercent = 0;
    return;
  }
  filtered = filtered == 0 ? measured : filtered + 0.1f * (measured - filtered);
  systemInfo.batteryVoltage = filtered;

  percent = 0;
  if (filtered >= volts[9])
  {
    percent = 100;
  }
  else
  {
    for (uint8_t i = 1; i < 10; i++)
    {
      if (filtered <= volts[i])
      {
        percent = levels[i - 1] + (filtered - volts[i - 1]) *
          (levels[i] - levels[i - 1]) / (volts[i] - volts[i - 1]);
        break;
      }
    }
  }
  if (percent < 0)
  {
    percent = 0;
  }
  if (percent > 100)
  {
    percent = 100;
  }
  if (systemInfo.batteryFull && !systemInfo.charging && filtered >= 4.05f)
  {
    percent = 100;
  }
  systemInfo.batteryPercent = (uint8_t)(percent + 0.5f);
}

static uint8_t findFreeNodeId(void)
{
  uint8_t nodeIdValid = 0x00;
  uint16_t wasNodeIdUsed;

  for (uint8_t nodeId = 0x01; nodeId <= 255; nodeId++)
  {
    wasNodeIdUsed = FALSE;
    if (nodeId == LORA_NODE_ID_BROADCAST || nodeId == LORA_NET_ID_DEFAULT)
    {
      continue;
    }
    for (uint8_t devNo = 0; devNo < MAXIMUM_DEVICE; devNo++)
    {
      if (!storageData.devices[devNo].deleted && storageData.devices[devNo].nodeId == nodeId)
      {
        wasNodeIdUsed = TRUE;
        break;
      }
    }
    if (wasNodeIdUsed == FALSE)
    {
      nodeIdValid = nodeId;
      break;
    }
  }
  return nodeIdValid;
}

/* Name letter for a Device_Type_e value: 'M', 'P', 'E', or 'x' if unknown. */
static char deviceTypeChar(uint8_t deviceType)
{
  switch (deviceType)
  {
    case eDevice_Type_Motor:
      return 'M';
    case eDevice_Type_Pressure:
      return 'P';
    case eDevice_Type_Encoder:
      return 'E';
    default:
      return 'x';
  }
}

/* Slot in devicesInfo already paired with this serial, or -1 if there is none. */
static int8_t findPairedSlot(uint32_t serial)
{
  for (int8_t devNo = 0; devNo < MAXIMUM_DEVICE; devNo++)
  {
    if (!storageData.devices[devNo].deleted && storageData.devices[devNo].factoryInfo.serial == serial)
    {
      return devNo;
    }
  }
  return -1;
}

/**
 * Device slot for the device being paired, if it and all its motors fit: the
 * slot already holding its serial, else the first free one. Returns -1 when the
 * device table is full or the motor pool cannot take numberOfModule motors.
 */
static int8_t pairingSlot(void)
{
  int8_t slot = findPairedSlot(systemInfo.foundDevice.serial);

  for (int8_t devNo = 0; slot < 0 && devNo < MAXIMUM_DEVICE; devNo++)
  {
    if (storageData.devices[devNo].deleted)
    {
      slot = devNo;
    }
  }
  if (slot < 0 ||
    !Config_CanAllocateMotors(slot, Config_ModuleCount(systemInfo.foundDevice.moduleCount)))
  {
    return -1;
  }
  return slot;
}

/**
 * Store the device confirmed by CMD_CONFIG_CONNECTION in pairingSlot(). The
 * device and each of its motors start from the default settings. Returns the
 * slot, or -1 if it no longer fits.
 */
static int8_t storePairedDevice(void)
{
  int8_t slot = pairingSlot();

  if (slot < 0 ||
    !Config_AllocateMotors(slot, Config_ModuleCount(systemInfo.foundDevice.moduleCount)))
  {
    return -1;
  }

  memset(&devicesInfo[slot], 0, sizeof(devicesInfo[slot]));
  devicesInfo[slot].index = slot;
  devicesInfo[slot].lastRxTime = systemInfo.currentTime;
  for (uint8_t module = 0; module < MAXIMUM_MODULE; module++)
  {
    MotorData_t *motor = Main_MotorState(slot, module);

    if (motor)
    {
      memset(motor, 0, sizeof(*motor)); /* the pool slot may have held another motor */
    }
  }

  memset(&storageData.devices[slot], 0, sizeof(storageData.devices[slot]));
  storageData.devices[slot].factoryInfo = systemInfo.foundDevice;
  storageData.devices[slot].nodeId = systemInfo.pairNodeId;
  Link_SetAutoStatus(slot, 0); /* Also refreshes the link-settings checksum. */
  /* The slave resets its own alarm/auto-status settings to 0 when it accepts
     CMD_CONFIG_CONNECTION (Lora_device), matching these defaults. */
  systemInfo.configSavePending = TRUE;
  return slot;
}

/* Run the screen handler for a click or long press and clear its flag. */
static void handleButton(Button_t *button, void (*onClick)(void), void (*onLongPress)(void))
{
  if (button->clicked)
  {
    button->clicked = 0;
    onClick();
  }
  else if (button->longPressed)
  {
    button->longPressed = 0;
    onLongPress();
  }
}
/* Whether the pairing screen is open and still shows step. */
static uint8_t pairingScreenAt(uint8_t step)
{
  return currentScreen == &devicePairingScreen && pairingUI_Step == step;
}

/* Redraw the pairing screen at a new step. */
static void showPairingStep(uint8_t step)
{
  pairingUI_Step = step;
  currentScreen->init();
}

/* Whether a request sent at startTick has waited PAIRING_TIMEOUT_MS without a reply. */
static uint8_t pairingTimedOut(uint32_t startTick)
{
  return xTaskGetTickCount() - startTick > pdMS_TO_TICKS(PAIRING_TIMEOUT_MS);
}

/* Show the result of the device search: FOUND on a reply, NOT_FOUND on timeout. */
static void handlePairingSearch(void)
{
  if (systemInfo.searchStep == eProcess_Step_Done)
  {
    if (pairingScreenAt(PAIRING_STATE_SEARCHING) && systemInfo.searchResult == eProcess_Result_Passed)
    {
      systemInfo.foundDevice.typeChar = deviceTypeChar(systemInfo.foundDevice.type);
      showPairingStep(PAIRING_STATE_FOUND);
    }
    systemInfo.searchStep = eProcess_Step_None;
  }
  else if (systemInfo.searchStep == eProcess_Step_Processing && pairingTimedOut(systemInfo.searchTick))
  {
    if (pairingScreenAt(PAIRING_STATE_SEARCHING))
    {
      showPairingStep(PAIRING_STATE_NOT_FOUND);
    }
    systemInfo.searchStep = eProcess_Step_None;
  }
}

/* Store the device once it accepted the connection: SUCCESS, or FAILED on timeout or no room. */
static void handlePairingConnection(void)
{
  uint8_t step;

  if (systemInfo.connectStep == eProcess_Step_Done)
  {
    if (pairingScreenAt(PAIRING_STATE_CONNECTING) && systemInfo.connectResult == eProcess_Result_Passed)
    {
      step = storePairedDevice() >= 0 ? PAIRING_STATE_SUCCESS : PAIRING_STATE_FAILED;
      showPairingStep(step);
    }
    systemInfo.connectStep = eProcess_Step_None;
  }
  else if (systemInfo.connectStep == eProcess_Step_Processing && pairingTimedOut(systemInfo.connectTick))
  {
    if (pairingScreenAt(PAIRING_STATE_CONNECTING))
    {
      showPairingStep(PAIRING_STATE_FAILED);
    }
    systemInfo.connectStep = eProcess_Step_None;
  }
}
/* USER CODE END 4 */

void StartSystemTask(void *argument)
{
  /* init code for USB_DEVICE */
  MX_USB_DEVICE_Init();
  /* USER CODE BEGIN 5 */
  /* Infinite loop */
  for (;;)
  {
    Link_ClockStep(Power_ReadRtcSecond());
    /* Screen changes, redraws and LCD readback share the same widgets/SPI.
       Never delete a window while lcdTask is inside its render callback. */
    osMutexAcquire(uiMutex, osWaitForever);
    Power_Tick();
    CDC_ProcessEcho_FS();

    /* Read the date time value. */
    HAL_RTC_GetTime(&hrtc, &systemInfo.rtcTime, RTC_FORMAT_BIN);
    HAL_RTC_GetDate(&hrtc, &systemInfo.rtcDate, RTC_FORMAT_BIN);
    systemInfo.currentTime = Util_GetUnixTimestamp(&systemInfo.rtcTime, &systemInfo.rtcDate);
    Rtc_SaveDate();
    updateBattery();

    /* Buttons. */
    if (leftButton.clicked || leftButton.longPressed || rightButton.clicked ||
      rightButton.longPressed || centerButton.clicked || centerButton.longPressed ||
      onButton.clicked || onButton.longPressed || offButton.clicked || offButton.longPressed)
    {
      Power_UserActivity();
    }
    handleButton(&leftButton, currentScreen->leftButtonClickedCallback, currentScreen->leftButtonPressedCallback);
    handleButton(&rightButton, currentScreen->rightButtonClickedCallback, currentScreen->rightButtonPressedCallback);
    handleButton(&centerButton, currentScreen->centerButtonClickedCallback, currentScreen->centerButtonPressedCallback);
    handleButton(&onButton, currentScreen->bleftButtonClickedCallback, currentScreen->bleftButtonPressedCallback);
    handleButton(&offButton, currentScreen->brightButtonClickedCallback, currentScreen->brightButtonPressedCallback);

    /* Pairing: device search, then connection. */
    handlePairingSearch();
    handlePairingConnection();

    /* Persist configuration. */
    if (systemInfo.configSavePending == TRUE)
    {
      systemInfo.configSavePending = FALSE;
      if (Config_Save())
      {
        Main_SetBuzzerMode(eBuzzer_Mode_LongBeep);
      }
    }

    RemoteHistory_Tick();
    Schedule_Tick();
    /* Link monitor: probes silent devices and sets devicesInfo[].linkLost.
       Skipped while a received LoRa packet is still waiting to be handled. */
    if (!powerSleep.rxPending)
    {
      Link_Tick();
    }
    Power_TryStop();
    osMutexRelease(uiMutex);
    osDelay(pdMS_TO_TICKS(100));
  }
  /* USER CODE END 5 */
}

void StartSensorTask(void *argument)
{
  /* USER CODE BEGIN StartSensorTask */
  /* Infinite loop */
  for (;;)
  {
    Button_UpdateState(&rightButton);
    Button_UpdateState(&centerButton);
    Button_UpdateState(&leftButton);
    Button_UpdateState(&onButton);
    Button_UpdateState(&offButton);

    /* Read battery charger status. */
    systemInfo.charging = HAL_GPIO_ReadPin(BAT_CHARGING_GPIO_Port, BAT_CHARGING_Pin) == GPIO_PIN_RESET ? 1 : 0;
    systemInfo.batteryFull = HAL_GPIO_ReadPin(BAT_STDBY_GPIO_Port, BAT_STDBY_Pin) == GPIO_PIN_RESET ? 1 : 0;
    osDelay(1);
  }
  /* USER CODE END StartSensorTask */
}

void StartLcdTask(void *argument)
{
  /* USER CODE BEGIN StartLcdTask */
  /* Infinite loop */
  for (;;)
  {
    osMutexAcquire(uiMutex, osWaitForever);
    if (systemInfo.runMode != eSystem_RunMode_Sleep)
    {
      currentScreen->render();
    }
    if (LCD_Recover())
    {
      /* Redraw existing widgets on next tick. */
      UG_WindowShow(&window_1);
    }
    LCD_ProcessProbe();
    osMutexRelease(uiMutex);
    osDelay(200);
  }
  /* USER CODE END StartLcdTask */
}

void StartBuzzerTask(void *argument)
{
  /* USER CODE BEGIN StartBuzzerTask */
  TIM_HandleTypeDef *buzzerTimer = &htim3;
  const uint32_t BUZZER_TIMER_CHANNEL = TIM_CHANNEL_3;
  const float MAX_CC_VALUE = 183.0f;
  Buzzer_Mode_e mode;

  /* Infinite loop */
  for (;;)
  {
    if (osMessageQueueGet(buzzerQueueHandle, &mode, NULL, osWaitForever) == osOK)
    {
      switch (mode)
      {
        case eBuzzer_Mode_Off:
          HAL_TIM_PWM_Stop(buzzerTimer, BUZZER_TIMER_CHANNEL);
          break;
        case eBuzzer_Mode_ShortBeep:
          __HAL_TIM_SET_COMPARE(buzzerTimer, BUZZER_TIMER_CHANNEL, MAX_CC_VALUE * 0.3f);
          HAL_TIM_PWM_Start(buzzerTimer, BUZZER_TIMER_CHANNEL);
          osDelay(100);
          HAL_TIM_PWM_Stop(buzzerTimer, BUZZER_TIMER_CHANNEL);
          break;
        case eBuzzer_Mode_2ShortBeep:
          __HAL_TIM_SET_COMPARE(buzzerTimer, BUZZER_TIMER_CHANNEL, MAX_CC_VALUE * 0.3f);
          for (int i = 0; i < 2; i++)
          {
            HAL_TIM_PWM_Start(buzzerTimer, BUZZER_TIMER_CHANNEL);
            osDelay(100);
            HAL_TIM_PWM_Stop(buzzerTimer, BUZZER_TIMER_CHANNEL);
            osDelay(100);
          }
          break;
        case eBuzzer_Mode_3ShortBeep:
          __HAL_TIM_SET_COMPARE(buzzerTimer, BUZZER_TIMER_CHANNEL, MAX_CC_VALUE * 0.3f);
          for (int i = 0; i < 3; i++)
          {
            HAL_TIM_PWM_Start(buzzerTimer, BUZZER_TIMER_CHANNEL);
            osDelay(100);
            HAL_TIM_PWM_Stop(buzzerTimer, BUZZER_TIMER_CHANNEL);
            osDelay(100);
          }
          break;
        case eBuzzer_Mode_LongBeep:
          __HAL_TIM_SET_COMPARE(buzzerTimer, BUZZER_TIMER_CHANNEL, MAX_CC_VALUE * 0.8f);
          HAL_TIM_PWM_Start(buzzerTimer, BUZZER_TIMER_CHANNEL);
          osDelay(300);
          HAL_TIM_PWM_Stop(buzzerTimer, BUZZER_TIMER_CHANNEL);
          break;
        case eBuzzer_Mode_AlarmLong:
          __HAL_TIM_SET_COMPARE(buzzerTimer, BUZZER_TIMER_CHANNEL, MAX_CC_VALUE * 1.0f);
          HAL_TIM_PWM_Start(buzzerTimer, BUZZER_TIMER_CHANNEL);
          break;
        default:
          break;
      }
    }
    osDelay(100);
  }
  /* USER CODE END StartBuzzerTask */
}

void StartLoraSendTask(void *argument)
{
  /* USER CODE BEGIN StartLoraSendTask */
  osStatus_t queueStatus;
  LoraPackage_t txPackage;
  uint8_t sent;

  /* Link supervisor is the sole source of automatic GET_STATUS requests. */
  /* Infinite loop */
  for (;;)
  {
    queueStatus = osMessageQueueGet(txMsgQueueHandle, &txPackage, NULL, osWaitForever);
    if (queueStatus == osOK)
    {
      if (!Link_ShouldTransmit(&txPackage) || !Schedule_ShouldTransmit(&txPackage))
      {
        continue;
      }
      osMutexAcquire(radioMutex, osWaitForever);
      powerSleep.txBusy = 1;
      sent = LoRa_transmit(&sLoRaCtrl, txPackage.rawData, txPackage.byteCount, 5000);
      LoRa_startReceiving(&sLoRaCtrl);
      powerSleep.txBusy = 0;
      osMutexRelease(radioMutex);

      Link_TxFinished(&txPackage, sent);
      Schedule_TxFinished(&txPackage, sent);
      osDelay(pdMS_TO_TICKS(200));
    }
  }
  /* USER CODE END StartLoraSendTask */
}

void StartLoraReceiveTask(void *argument)
{
  /* USER CODE BEGIN StartLoraReceiveTask */
  uint32_t notificationValue;
  uint8_t rxLength;

  /* Infinite loop */
  for (;;)
  {
    notificationValue = powerSleep.rxPending ? 1 : ulTaskNotifyTake(pdTRUE, pdMS_TO_TICKS(1000));
    if (notificationValue > 0)
    {
      osMutexAcquire(radioMutex, osWaitForever);
      rxLength = LoRa_receive(&sLoRaCtrl, rxBuffer, 128);
      Comm_ProcessRxData(rxBuffer, rxLength);
      Power_RxProcessed();
      osMutexRelease(radioMutex);
    }
  }
  /* USER CODE END StartLoraReceiveTask */
}

/* GetDevStatusTimerCallback function */
void GetDevStatusTimerCallback(void *argument)
{
  /* USER CODE BEGIN GetDevStatusTimerCallback */
  Link_RequestScan();
  /* USER CODE END GetDevStatusTimerCallback */
}

void HAL_TIM_PeriodElapsedCallback(TIM_HandleTypeDef *htim)
{
  if (htim->Instance == TIM1)
  {
    HAL_IncTick();
  }
}

void Error_Handler(void)
{
  __disable_irq();
  while (1)
  {
  }
}

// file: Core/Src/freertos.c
/* USER CODE BEGIN Header */
/**
  ******************************************************************************
  * File Name          : freertos.c
  * Description        : Code for freertos applications
  ******************************************************************************
  * @attention
  *
  * Copyright (c) 2026 STMicroelectronics.
  * All rights reserved.
  *
  * This software is licensed under terms that can be found in the LICENSE file
  * in the root directory of this software component.
  * If no LICENSE file comes with this software, it is provided AS-IS.
  *
  ******************************************************************************
  */
/* USER CODE END Header */

#include "FreeRTOS.h"
#include "task.h"
#include "main.h"

/* Hook prototypes */
void vApplicationIdleHook(void);
void vApplicationMallocFailedHook(void);

/* USER CODE BEGIN 2 */
void vApplicationIdleHook( void )
{
   /* vApplicationIdleHook() will only be called if configUSE_IDLE_HOOK is set
   to 1 in FreeRTOSConfig.h. It will be called on each iteration of the idle
   task. It is essential that code added to this hook function never attempts
   to block in any way (for example, call xQueueReceive() with a block time
   specified, or call vTaskDelay()). If the application makes use of the
   vTaskDelete() API function (as this demo application does) then it is also
   important that vApplicationIdleHook() is permitted to return to its calling
   function, because it is the responsibility of the idle task to clean up
   memory allocated by the kernel to any task that has since been deleted. */
}
/* USER CODE END 2 */

/* USER CODE BEGIN 5 */
void vApplicationMallocFailedHook(void)
{
   /* vApplicationMallocFailedHook() will only be called if
   configUSE_MALLOC_FAILED_HOOK is set to 1 in FreeRTOSConfig.h. It is a hook
   function that will get called if a call to pvPortMalloc() fails.
   pvPortMalloc() is called internally by the kernel whenever a task, queue,
   timer or semaphore is created. It is also called by various parts of the
   demo application. If heap_1.c or heap_2.c are used, then the size of the
   heap available to pvPortMalloc() is defined by configTOTAL_HEAP_SIZE in
   FreeRTOSConfig.h, and the xPortGetFreeHeapSize() API function can be used
   to query the size of free heap space that remains (although it does not
   provide information on how the remaining heap might be fragmented). */
}
/* USER CODE END 5 */

/* USER CODE BEGIN PREPOSTSLEEP */
__weak void PreSleepProcessing(uint32_t *ulExpectedIdleTime)
{
/* place for user code */
}

__weak void PostSleepProcessing(uint32_t *ulExpectedIdleTime)
{
/* place for user code */
}
/* USER CODE END PREPOSTSLEEP */
